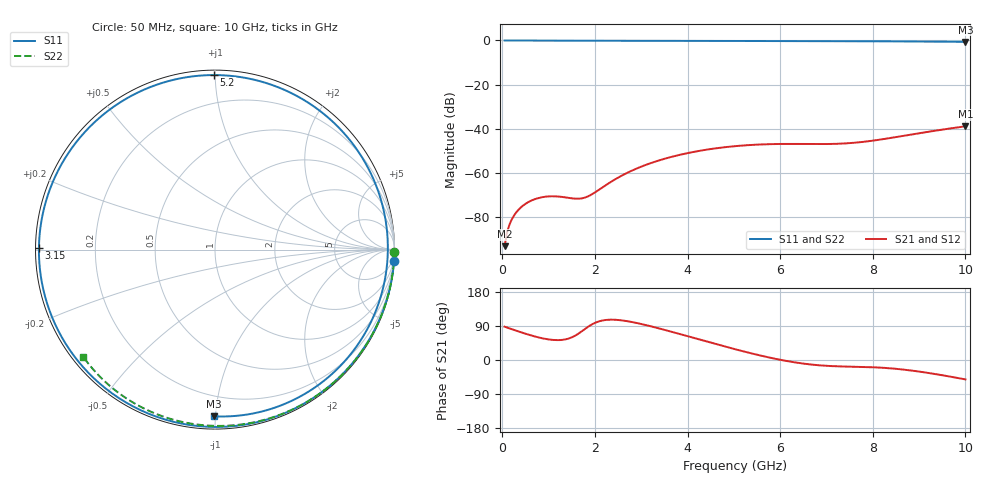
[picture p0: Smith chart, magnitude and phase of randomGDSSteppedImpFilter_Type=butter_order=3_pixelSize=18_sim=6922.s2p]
! freq	dB(S11)	phase(S11)	dB(S12)	phase(S12)
!  dB(S21)	phase(S21)	dB(S22)	phase(S22)
!S-par simulation data
#  GHz  S  DB  R 50
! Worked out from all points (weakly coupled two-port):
!   200 points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, 50 MHz to 10 GHz, reference 50 ohm
!   highest |S21| = -38.87 dB at 10 GHz (marker M1); lowest = -93.1 dB at 50 MHz (marker M2)
!   lowest |S11| = -0.6 dB at 10 GHz (marker M3), VSWR 27.06, Z = 3.66 - j49.5 ohm
!   |S11| at or under -10 dB: nowhere
!   |S22| runs from -0.5 to 0.0 dB; largest |S21 - S12| = 0
!   S11 on the Smith chart (normalised r, x): 50 MHz: 0, -32; 3.15 GHz: 0.01, +0.00; 5.2 GHz: 0.03, +0.99; 10 GHz: 0.07, -0.99
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0.05  -0.00 -3.6  -93.13 87.9  -93.13 87.9  -0.00 -0.8
0.25  -0.03 -17.7  -79.35 79.4  -79.35 79.4  -0.01 -4.1
0.45  -0.05 -31.5  -74.72 71.3  -74.72 71.3  -0.01 -7.3
0.9  -0.08 -61.6  -70.82 56.4  -70.82 56.4  -0.02 -14.5
1.3  -0.10 -86.4  -70.85 53.2  -70.85 53.2  -0.03 -20.9
1.75  -0.12 -112.1  -71.33 78.7  -71.33 78.7  -0.04 -28.0
2.1  -0.13 -130.6  -67.43 102.4  -67.43 102.4  -0.04 -33.4
2.45  -0.15 -148.0  -62.71 106.1  -62.71 106.1  -0.05 -38.9
2.8  -0.16 -164.5  -58.91 100.2  -58.91 100.2  -0.06 -44.2
3.15  -0.17 179.5  -55.94 90.7  -55.94 90.7  -0.06 -49.5
3.4  -0.17 168.4  -54.20 82.9  -54.20 82.9  -0.07 -53.2
3.85  -0.19 148.8  -51.70 67.9  -51.70 67.9  -0.08 -59.9
4.3  -0.21 129.3  -49.82 52.6  -49.82 52.6  -0.09 -66.4
5.05  -0.24 96.8  -47.81 27.7  -47.81 27.7  -0.12 -77.0
5.2  -0.24 90.3  -47.55 23.0  -47.55 23.0  -0.12 -79.0
5.9  -0.27 59.9  -46.89 3.1  -46.89 3.1  -0.15 -88.6
6.7  -0.30 25.9  -46.90 -12.4  -46.90 -12.4  -0.19 -99.2
7.1  -0.32 9.5  -46.86 -16.0  -46.86 -16.0  -0.22 -104.4
7.5  -0.34 -6.4  -46.48 -17.5  -46.48 -17.5  -0.24 -109.5
8.35  -0.41 -37.8  -44.26 -21.7  -44.26 -21.7  -0.31 -120.2
9.15  -0.50 -64.5  -41.51 -33.2  -41.51 -33.2  -0.38 -130.2
10  -0.64 -90.4  -38.87 -51.2  -38.87 -51.2  -0.48 -140.8
